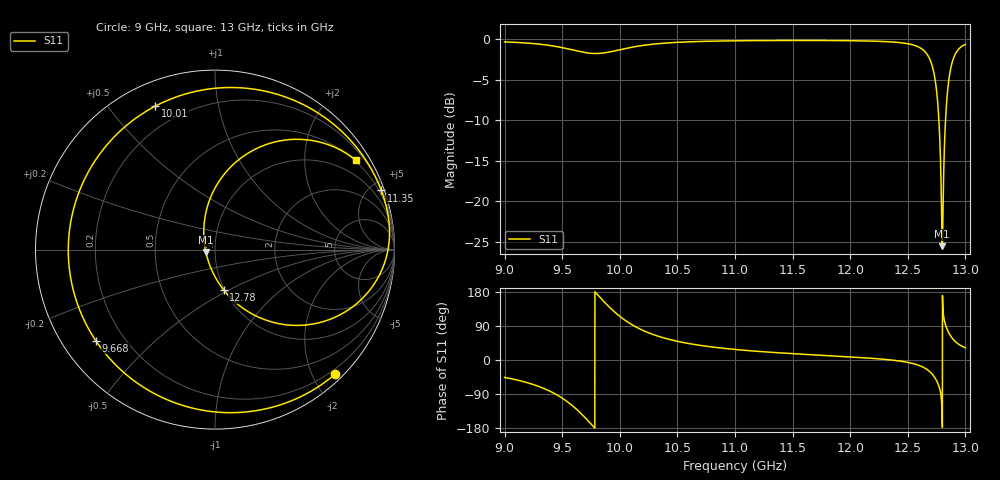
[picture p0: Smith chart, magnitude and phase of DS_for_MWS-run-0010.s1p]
! TOUCHSTONE file generated by CST DESIGN STUDIO
! Date and time: Wed Feb  5 13:32:22 2025
! Project name: C:\Work\MatlabApps\UnitCellOptimizationMatlab\CST\unitcell.cst
! Tree item: Tasks\Sweep1\SPara1\S-Parameters
! Header version: 2024
! Port assignment regex: !\s*Touchstone port\s*([0-9]+)\s*=\s*(CST MWS port|CST DES external port|CST DES block port)\s*(.+)\s* \(\"(.*)\"\)(\s*mode\s*([0-9]+))?.*
! Touchstone port assignment:
! Touchstone port 1 = CST DES external port 1 ("")
# GHz S MA R 50
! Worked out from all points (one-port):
!   4001 points, 9 GHz to 13 GHz, reference 50 ohm
!   lowest |S11| = -25.6 dB at 12.8 GHz (marker M1), VSWR 1.11, Z = 45.1 - j1.29 ohm
!   |S11| at or under -10 dB: 12.76995 GHz to 12.82747 GHz (57.52 MHz wide, 0.449 % of centre)
!   S11 on the Smith chart (normalised r, x): 9 GHz: 0.12, -2.35; 9.668 GHz: 0.10, -0.34; 10.01 GHz: 0.10, +0.66; 11.35 GHz: 0.29, +5.78; 12.78 GHz: 0.99, -0.47; 13 GHz: 0.46, +3.40
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9  0.964 -45.9
9.273  0.9384 -67.2
9.5  0.8882 -100.7
9.586  0.861 -120.0
9.668  0.8358 -142.6
9.746  0.82 -167.4
9.819  0.8186 168.2
9.913  0.836 138.5
10  0.8623 115.2
10.011  0.8658 112.6
10.112  0.8959 91.9
10.242  0.9255 72.7
10.5  0.9581 49.3
11  0.9792 27.8
11.35  0.9834 19.6
11.5  0.984 16.7
12  0.9806 8.2
12.5  0.9392 -6.4
12.631  0.8624 -18.6
12.71  0.6927 -36.6
12.754  0.4508 -57.0
12.779  0.2289 -77.9
12.799  0.05276 -164.4
12.812  0.1543 113.1
12.838  0.4166 83.6
12.865  0.6185 66.8
12.927  0.8443 44.8
13  0.9304 32.3
